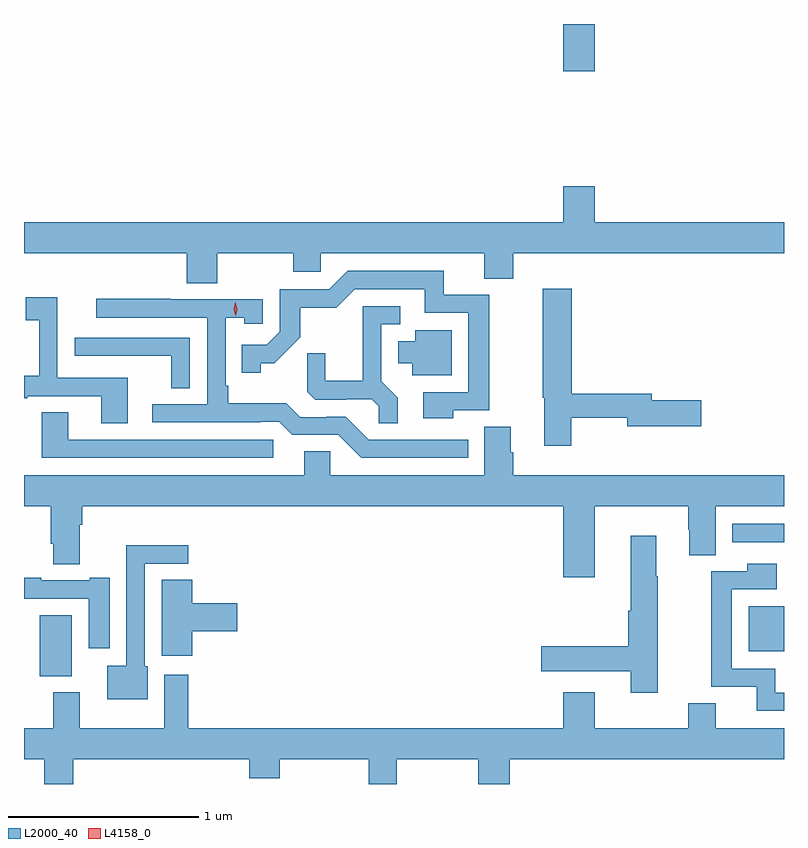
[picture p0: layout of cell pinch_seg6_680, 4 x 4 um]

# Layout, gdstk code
import gdstk
lib = gdstk.Library(unit=1e-6, precision=1e-09)
def R(c, l, rs):  # rectangles x0, y0, x1, y1
    for r in rs: c.add(gdstk.rectangle(r[:2], r[2:], *l))
def P(c, l, *ps):  # polygons
    for p in ps: c.add(gdstk.Polygon(p, *l))
L2000_40 = (2000, 40)
L4158_0 = (4158, 0)

pinch_seg6_680 = lib.new_cell('pinch_seg6_680')
R(pinch_seg6_680, L2000_40, [(485.927,947.774,486.097,948.094), (489.659,947.906,489.845,948.142), (489.572,948.48,489.845,948.576), (488.684,950.958,488.848,951.207)])
P(pinch_seg6_680, L2000_40, [(486.861,950),(487.261,950),(487.261,949.902),(487.407,949.902),(487.407,950),(488.267,950),(488.267,949.867),(488.42,949.867),(488.42,950),(489.845,950),(489.845,950.164),(488.848,950.164),(488.848,950.353),(488.684,950.353),(488.684,950.164),(485.845,950.164),(485.845,950),(486.701,950),(486.701,949.843),(486.861,949.843)],
  [(488.103,949.173),(488.293,949.173),(488.293,949.782),(488.054,949.782),(488.054,949.908),(487.548,949.908),(487.452,949.812),(487.191,949.812),(487.191,949.587),(487.122,949.518),(486.991,949.518),(486.991,949.371),(487.092,949.371),(487.092,949.421),(487.162,949.421),(487.3,949.558),(487.3,949.714),(487.489,949.714),(487.587,949.812),(487.955,949.812),(487.955,949.686),(488.184,949.686),(488.184,949.269),(487.947,949.269),(487.947,949.133),(488.103,949.133)],
  [(488.724,949.134),(489.02,949.134),(489.02,949.091),(489.409,949.091),(489.409,949.226),(489.148,949.226),(489.148,949.262),(488.729,949.262),(488.729,949.813),(488.575,949.813),(488.575,949.239),(488.582,949.239),(488.582,948.987),(488.724,948.987)],
  [(486.391,949.344),(486.021,949.344),(486.021,949.768),(485.853,949.768),(485.853,949.648),(485.924,949.648),(485.924,949.357),(485.845,949.357),(485.845,949.236),(485.863,949.236),(485.863,949.248),(486.251,949.248),(486.251,949.105),(486.391,949.105)],
  [(488.182,949.02),(487.659,949.02),(487.539,949.14),(487.438,949.14),(487.438,949.137),(487.299,949.137),(487.226,949.21),(486.919,949.21),(486.919,949.303),(486.906,949.303),(486.906,949.661),(487.005,949.661),(487.005,949.629),(487.101,949.629),(487.101,949.758),(486.617,949.758),(486.617,949.761),(486.225,949.761),(486.225,949.662),(486.81,949.662),(486.81,949.206),(486.519,949.206),(486.519,949.11),(487.088,949.11),(487.088,949.113),(487.188,949.113),(487.257,949.044),(487.5,949.044),(487.62,948.924),(488.182,948.924)],
  [(487.811,949.241),(487.725,949.327),(487.725,949.626),(487.825,949.626),(487.825,949.722),(487.628,949.722),(487.628,949.33),(487.43,949.33),(487.43,949.473),(487.336,949.473),(487.336,949.271),(487.377,949.23),(487.542,949.23),(487.542,949.233),(487.676,949.233),(487.713,949.196),(487.713,949.105),(487.811,949.105)],
  [(488.095,949.594),(487.904,949.594),(487.904,949.537),(487.814,949.537),(487.814,949.421),(487.889,949.421),(487.889,949.358),(488.095,949.358)],
  [(486.717,949.557),(486.111,949.557),(486.111,949.462),(486.223,949.462),(486.223,949.461),(486.619,949.461),(486.619,949.291),(486.717,949.291)],
  [(487.156,949.02),(486.079,949.02),(486.079,949.163),(485.939,949.163),(485.939,948.924),(487.156,948.924)],
  [(488.848,948.668),(489.34,948.668),(489.34,948.546),(489.347,948.546),(489.347,948.412),(489.487,948.412),(489.487,948.668),(489.845,948.668),(489.845,948.832),(488.42,948.832),(488.42,948.954),(488.407,948.954),(488.407,949.088),(488.267,949.088),(488.267,948.832),(487.458,948.832),(487.458,948.959),(487.319,948.959),(487.319,948.832),(485.845,948.832),(485.845,948.668),(485.987,948.668),(485.987,948.472),(485.999,948.472),(485.999,948.364),(486.139,948.364),(486.139,948.572),(486.152,948.572),(486.152,948.668),(488.684,948.668),(488.684,948.294),(488.848,948.294)],
  [(489.18,948.301),(489.172,948.301),(489.172,948.514),(489.038,948.514),(489.038,948.119),(489.026,948.119),(489.026,947.931),(488.568,947.931),(488.568,947.801),(489.038,947.801),(489.038,947.688),(489.18,947.688)],
  [(486.496,947.826),(486.48,947.826),(486.48,948.366),(486.709,948.366),(486.709,948.464),(486.384,948.464),(486.384,947.83),(486.284,947.83),(486.284,947.654),(486.496,947.654)],
  [(489.845,947.688),(489.799,947.688),(489.799,947.814),(489.57,947.814),(489.57,948.231),(489.808,948.231),(489.808,948.367),(489.652,948.367),(489.652,948.327),(489.462,948.327),(489.462,947.718),(489.701,947.718),(489.701,947.592),(489.845,947.592)],
  [(486.295,948.292),(486.191,948.292),(486.191,948.279),(485.935,948.279),(485.935,948.292),(485.845,948.292),(485.845,948.183),(486.185,948.183),(486.185,947.922),(486.295,947.922)],
  [(486.731,948.011),(486.967,948.011),(486.967,948.158),(486.731,948.158),(486.731,948.281),(486.569,948.281),(486.569,947.883),(486.731,947.883)],
  [(486.104,947.336),(487.031,947.336),(487.031,947.237),(487.191,947.237),(487.191,947.336),(487.66,947.336),(487.66,947.207),(487.807,947.207),(487.807,947.336),(488.237,947.336),(488.237,947.207),(488.401,947.207),(488.401,947.336),(489.845,947.336),(489.845,947.5),(489.487,947.5),(489.487,947.633),(489.34,947.633),(489.34,947.5),(488.848,947.5),(488.848,947.689),(488.684,947.689),(488.684,947.5),(486.71,947.5),(486.71,947.782),(486.584,947.782),(486.584,947.5),(486.139,947.5),(486.139,947.689),(485.999,947.689),(485.999,947.5),(485.845,947.5),(485.845,947.336),(485.951,947.336),(485.951,947.207),(486.104,947.207)])
P(pinch_seg6_680, L4158_0, [(486.959,949.671),(486.959,949.671),(486.948,949.707),(486.957,949.743),(486.958,949.743),(486.958,949.743),(486.968,949.707),(486.959,949.671)])

lib.write_gds('pinch_seg6_680.gds')
